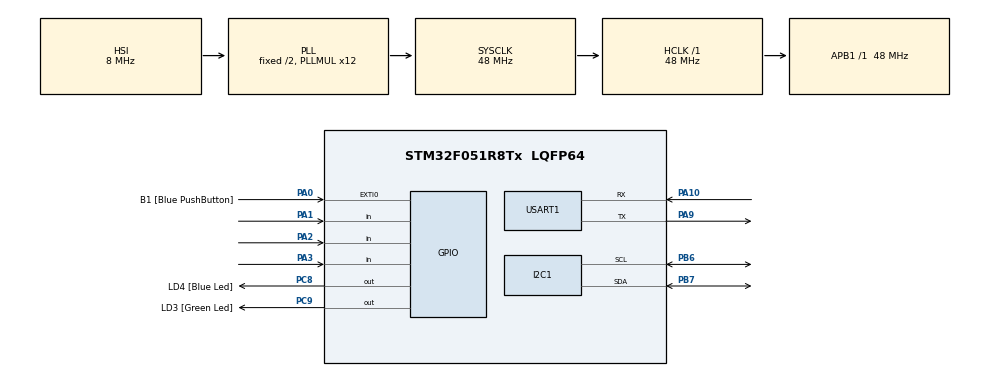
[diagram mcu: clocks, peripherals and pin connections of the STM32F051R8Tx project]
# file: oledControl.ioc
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I2C1.Timing=0x10805D88
Mcu.Family=STM32F0
Mcu.Name=STM32F051R8Tx
Mcu.Package=LQFP64
PA0.GPIO_Label=B1 [Blue PushButton]
PA0.GPIO_ModeDefaultEXTI=GPIO_MODE_EVT_RISING
PA0.Signal=GPXTI0
PA1.GPIO_PuPd=GPIO_PULLDOWN
PA1.Signal=GPIO_Input
PA10.Mode=Asynchronous
PA10.Signal=USART1_RX
PA13.GPIO_Label=SWDIO
PA13.Mode=Serial_Wire
PA13.Signal=SYS_SWDIO
PA14.GPIO_Label=SWCLK
PA14.Mode=Serial_Wire
PA14.Signal=SYS_SWCLK
PA2.GPIO_PuPd=GPIO_PULLDOWN
PA2.Signal=GPIO_Input
PA3.GPIO_PuPd=GPIO_PULLDOWN
PA3.Signal=GPIO_Input
PA9.Mode=Asynchronous
PA9.Signal=USART1_TX
PB6.GPIO_Pu=GPIO_PULLUP
PB6.Mode=I2C
PB6.Signal=I2C1_SCL
PB7.GPIO_Pu=GPIO_PULLUP
PB7.Mode=I2C
PB7.Signal=I2C1_SDA
PC8.GPIO_Label=LD4 [Blue Led]
PC8.Signal=GPIO_Output
PC9.GPIO_Label=LD3 [Green Led]
PC9.Signal=GPIO_Output
ProjectManager.HeapSize=0x200
ProjectManager.StackSize=0x400
ProjectManager.TargetToolchain=STM32CubeIDE
RCC.AHBFreq_Value=48000000
RCC.APB1Freq_Value=48000000
RCC.APB1TimFreq_Value=48000000
RCC.HCLKFreq_Value=48000000
RCC.I2c1ClockSelection=RCC_I2C1CLKSOURCE_SYSCLK
RCC.PLLMUL=RCC_PLL_MUL12
RCC.SYSCLKFreq_VALUE=48000000
RCC.SYSCLKSource=RCC_SYSCLKSOURCE_PLLCLK
USART1.VirtualMode-Asynchronous=VM_ASYNC
board=STM32F0DISCOVERY

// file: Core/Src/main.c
/* USER CODE BEGIN Header */
/**
  ******************************************************************************
  * @file           : main.c
  * @brief          : Main program body
  ******************************************************************************
  * @attention
  *
  * Copyright (c) 2025 STMicroelectronics.
  * All rights reserved.
  *
  * This software is licensed under terms that can be found in the LICENSE file
  * in the root directory of this software component.
  * If no LICENSE file comes with this software, it is provided AS-IS.
  *
  ******************************************************************************
  */
/* USER CODE END Header */
#include "main.h"

/* USER CODE BEGIN Includes */
#include "ssd1306.h"
#include "ssd1306_fonts.h"
#include <string.h>
#include "si5351.h"
/* USER CODE END Includes */

/* USER CODE BEGIN PTD */
// void Scan_I2C_Devices(I2C_HandleTypeDef *hi2c) {
//     printf("Scanning I2C devices...\r\n");
//     for (uint8_t addr = 1; addr < 127; addr++) {
//         if (HAL_I2C_IsDeviceReady(hi2c, addr << 1, 3, 100) == HAL_OK) {
//             printf("Device found at 0x%02X\r\n", addr);
//         }
//     }
//}
/* USER CODE END PTD */

I2C_HandleTypeDef hi2c1;

UART_HandleTypeDef huart1;

uint32_t current_freq = 20000; // Начальная частота 20 kHz
uint32_t new_freq = 20000;
uint8_t freq_changed = 0;

#define FREQ_STEP 1000 // 1 kHz

#define BTN_UP_PIN GPIO_PIN_0
#define BTN_DOWN_PIN GPIO_PIN_1
#define BTN_OK_PIN GPIO_PIN_2

void SystemClock_Config(void);
static void MX_GPIO_Init(void);
static void MX_I2C1_Init(void);
static void MX_USART1_UART_Init(void);

void HAL_GPIO_EXTI_Callback(uint16_t GPIO_Pin);

void update_display(void);
void handle_buttons(void);
void apply_frequency(void);

/* USER CODE BEGIN 0 */
void update_display() {
    char buf[32];
    ssd1306_Fill(Black);

    // Текущая частота
    ssd1306_SetCursor(5, 5);
    snprintf(buf, sizeof(buf), "Current: %lu Hz", current_freq);
    ssd1306_WriteString(buf, Font_7x10, White);

    // Новая частота
    ssd1306_SetCursor(5, 15);
    if(freq_changed) {
        snprintf(buf, sizeof(buf), "New: %lu Hz", new_freq);
    } else {
        strcpy(buf, "New: --");
    }
    ssd1306_WriteString(buf, Font_7x10, White);

    // Инструкция
    ssd1306_SetCursor(5, 25);
    ssd1306_WriteString("UP/DOWN-Change OK-Set", Font_7x10, White);

    ssd1306_UpdateScreen();
}

void apply_frequency() {
    si5351_SetupCLK0(new_freq, SI5351_DRIVE_STRENGTH_8MA);
    current_freq = new_freq;
    freq_changed = 0;
    update_display();
}

void handle_buttons() {
    static uint32_t last_press = 0;
    uint32_t now = HAL_GetTick();

    // Обработка кнопки UP
    if(HAL_GPIO_ReadPin(GPIOA, BTN_UP_PIN) == GPIO_PIN_RESET) {
        if(now - last_press > 200) { // Задержка 200 мс
            new_freq += FREQ_STEP;
            if(new_freq > 160000000) new_freq = 160000000;
            freq_changed = 1;
            last_press = now;
            update_display();
        }
    }

    // Обработка кнопки DOWN
    if(HAL_GPIO_ReadPin(GPIOA, BTN_DOWN_PIN) == GPIO_PIN_RESET) {
        if(now - last_press > 200) {
            new_freq -= FREQ_STEP;
            if(new_freq < 8000) new_freq = 8000;
            freq_changed = 1;
            last_press = now;
            update_display();
        }
    }

    // Обработка кнопки OK
    if(HAL_GPIO_ReadPin(GPIOA, BTN_OK_PIN) == GPIO_PIN_RESET) {
        HAL_Delay(50); // Антидребезг
        if(HAL_GPIO_ReadPin(GPIOA, BTN_OK_PIN) == GPIO_PIN_RESET) {
            apply_frequency();
            while(HAL_GPIO_ReadPin(GPIOA, BTN_OK_PIN) == GPIO_PIN_RESET);
        }
    }
}

/* USER CODE END 0 */

int main(void)
{

  /* MCU Configuration--------------------------------------------------------*/

  /* Reset of all peripherals, Initializes the Flash interface and the Systick. */
  HAL_Init();

  /* Configure the system clock */
  SystemClock_Config();

  /* Initialize all configured peripherals */
  MX_GPIO_Init();
  MX_I2C1_Init();
  MX_USART1_UART_Init();
  /* USER CODE BEGIN 2 */

  ssd1306_Init();
  ssd1306_SetContrast(255);
  ssd1306_SetCursor(5,5);
  char Text[100] = "Alle Normale";
  ssd1306_WriteString(Text, Font_7x10, White);
  ssd1306_DrawCircle(100, 8, 5, White);

  ssd1306_UpdateScreen();

  HAL_Delay(4000);

  // Инициализация дисплея

  ssd1306_SetDisplayOn(1);

  // Инициализация Si5351
  si5351_Init(0); // Введите калибровочное значение
  si5351_EnableOutputs(1 << 0);

  update_display();

  //Scan_I2C_Devices(&hi2c1);
  /* USER CODE END 2 */

  /* Infinite loop */
  /* USER CODE BEGIN WHILE */
  while (1)
  {
      handle_buttons();
      HAL_Delay(10);
    /* USER CODE END WHILE */

  }
}

void SystemClock_Config(void)
{
  RCC_OscInitTypeDef RCC_OscInitStruct = {0};
  RCC_ClkInitTypeDef RCC_ClkInitStruct = {0};
  RCC_PeriphCLKInitTypeDef PeriphClkInit = {0};

  /** Initializes the RCC Oscillators according to the specified parameters
  * in the RCC_OscInitTypeDef structure.
  */
  RCC_OscInitStruct.OscillatorType = RCC_OSCILLATORTYPE_HSI;
  RCC_OscInitStruct.HSIState = RCC_HSI_ON;
  RCC_OscInitStruct.HSICalibrationValue = RCC_HSICALIBRATION_DEFAULT;
  RCC_OscInitStruct.PLL.PLLState = RCC_PLL_ON;
  RCC_OscInitStruct.PLL.PLLSource = RCC_PLLSOURCE_HSI;
  RCC_OscInitStruct.PLL.PLLMUL = RCC_PLL_MUL12;
  RCC_OscInitStruct.PLL.PREDIV = RCC_PREDIV_DIV1;
  if (HAL_RCC_OscConfig(&RCC_OscInitStruct) != HAL_OK)
  {
    Error_Handler();
  }

  /** Initializes the CPU, AHB and APB buses clocks
  */
  RCC_ClkInitStruct.ClockType = RCC_CLOCKTYPE_HCLK|RCC_CLOCKTYPE_SYSCLK
                              |RCC_CLOCKTYPE_PCLK1;
  RCC_ClkInitStruct.SYSCLKSource = RCC_SYSCLKSOURCE_PLLCLK;
  RCC_ClkInitStruct.AHBCLKDivider = RCC_SYSCLK_DIV1;
  RCC_ClkInitStruct.APB1CLKDivider = RCC_HCLK_DIV1;

  if (HAL_RCC_ClockConfig(&RCC_ClkInitStruct, FLASH_LATENCY_1) != HAL_OK)
  {
    Error_Handler();
  }
  PeriphClkInit.PeriphClockSelection = RCC_PERIPHCLK_USART1|RCC_PERIPHCLK_I2C1;
  PeriphClkInit.Usart1ClockSelection = RCC_USART1CLKSOURCE_PCLK1;
  PeriphClkInit.I2c1ClockSelection = RCC_I2C1CLKSOURCE_SYSCLK;
  if (HAL_RCCEx_PeriphCLKConfig(&PeriphClkInit) != HAL_OK)
  {
    Error_Handler();
  }
}

static void MX_I2C1_Init(void)
{

  hi2c1.Instance = I2C1;
  hi2c1.Init.Timing = 0x10805D88;
  hi2c1.Init.OwnAddress1 = 0;
  hi2c1.Init.AddressingMode = I2C_ADDRESSINGMODE_7BIT;
  hi2c1.Init.DualAddressMode = I2C_DUALADDRESS_DISABLE;
  hi2c1.Init.OwnAddress2 = 0;
  hi2c1.Init.OwnAddress2Masks = I2C_OA2_NOMASK;
  hi2c1.Init.GeneralCallMode = I2C_GENERALCALL_DISABLE;
  hi2c1.Init.NoStretchMode = I2C_NOSTRETCH_DISABLE;
  if (HAL_I2C_Init(&hi2c1) != HAL_OK)
  {
    Error_Handler();
  }

  /** Configure Analogue filter
  */
  if (HAL_I2CEx_ConfigAnalogFilter(&hi2c1, I2C_ANALOGFILTER_ENABLE) != HAL_OK)
  {
    Error_Handler();
  }

  /** Configure Digital filter
  */
  if (HAL_I2CEx_ConfigDigitalFilter(&hi2c1, 0) != HAL_OK)
  {
    Error_Handler();
  }

}

static void MX_USART1_UART_Init(void)
{

  huart1.Instance = USART1;
  huart1.Init.BaudRate = 38400;
  huart1.Init.WordLength = UART_WORDLENGTH_8B;
  huart1.Init.StopBits = UART_STOPBITS_1;
  huart1.Init.Parity = UART_PARITY_NONE;
  huart1.Init.Mode = UART_MODE_TX_RX;
  huart1.Init.HwFlowCtl = UART_HWCONTROL_NONE;
  huart1.Init.OverSampling = UART_OVERSAMPLING_16;
  huart1.Init.OneBitSampling = UART_ONE_BIT_SAMPLE_DISABLE;
  huart1.AdvancedInit.AdvFeatureInit = UART_ADVFEATURE_NO_INIT;
  if (HAL_UART_Init(&huart1) != HAL_OK)
  {
    Error_Handler();
  }

}

static void MX_GPIO_Init(void)
{
  GPIO_InitTypeDef GPIO_InitStruct = {0};

  /* GPIO Ports Clock Enable */
  __HAL_RCC_GPIOA_CLK_ENABLE();
  __HAL_RCC_GPIOC_CLK_ENABLE();
  __HAL_RCC_GPIOB_CLK_ENABLE();

  /*Configure GPIO pin Output Level */
  HAL_GPIO_WritePin(GPIOC, LD4_Pin|LD3_Pin, GPIO_PIN_RESET);

  /*Configure GPIO pin : B1_Pin */
  GPIO_InitStruct.Pin = B1_Pin;
  GPIO_InitStruct.Mode = GPIO_MODE_EVT_RISING;
  GPIO_InitStruct.Pull = GPIO_NOPULL;
  HAL_GPIO_Init(B1_GPIO_Port, &GPIO_InitStruct);

  /*Configure GPIO pins : PA1 PA2 PA3 */
  //GPIO_InitStruct.Pin = GPIO_PIN_1|GPIO_PIN_2|GPIO_PIN_3;
  //GPIO_InitStruct.Mode = GPIO_MODE_INPUT;
  //GPIO_InitStruct.Pull = GPIO_PULLDOWN;
  //HAL_GPIO_Init(GPIOA, &GPIO_InitStruct);
  GPIO_InitStruct.Pin = BTN_UP_PIN | BTN_DOWN_PIN | BTN_OK_PIN;
  GPIO_InitStruct.Mode = GPIO_MODE_INPUT;
  GPIO_InitStruct.Pull = GPIO_PULLUP;
  HAL_GPIO_Init(GPIOA, &GPIO_InitStruct);

  /*Configure GPIO pins : LD4_Pin LD3_Pin */
  GPIO_InitStruct.Pin = LD4_Pin|LD3_Pin;
  GPIO_InitStruct.Mode = GPIO_MODE_OUTPUT_PP;
  GPIO_InitStruct.Pull = GPIO_NOPULL;
  GPIO_InitStruct.Speed = GPIO_SPEED_FREQ_LOW;
  HAL_GPIO_Init(GPIOC, &GPIO_InitStruct);

}

void Error_Handler(void)
{
  __disable_irq();
  while (1)
  {
  }
}
